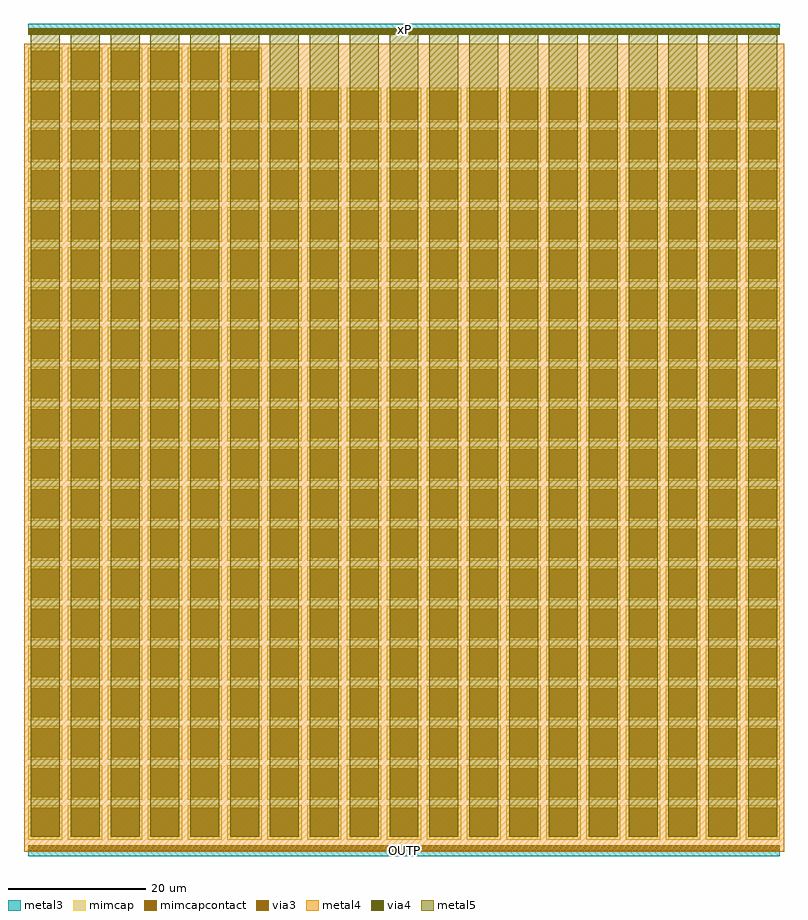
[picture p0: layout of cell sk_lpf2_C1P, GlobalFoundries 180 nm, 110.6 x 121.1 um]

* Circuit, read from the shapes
.subckt sk_lpf2_C1P xP OUTP
XC1 xP OUTP cap_mim_2f0fF c_width=5u c_length=5u m=367
.ends

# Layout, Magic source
magic
tech gf180mcuD
magscale 1 10
<< metal3 >>
rect 0 23420 21880 23620
rect 0 23420 21880 23740
rect 0 23420 21880 23740
rect 0 -340 21880 -160
rect 0 -480 21880 -160
rect 0 -480 21880 -160
<< metal4 >>
rect -120 -360 22000 23160
rect 0 23420 21880 23620
rect 0 23420 21880 23620
rect 0 -340 21880 -160
<< mimcap >>
rect 0 0 1000 1000
rect 1160 0 2160 1000
rect 2320 0 3320 1000
rect 3480 0 4480 1000
rect 4640 0 5640 1000
rect 5800 0 6800 1000
rect 6960 0 7960 1000
rect 8120 0 9120 1000
rect 9280 0 10280 1000
rect 10440 0 11440 1000
rect 11600 0 12600 1000
rect 12760 0 13760 1000
rect 13920 0 14920 1000
rect 15080 0 16080 1000
rect 16240 0 17240 1000
rect 17400 0 18400 1000
rect 18560 0 19560 1000
rect 19720 0 20720 1000
rect 20880 0 21880 1000
rect 0 1160 1000 2160
rect 1160 1160 2160 2160
rect 2320 1160 3320 2160
rect 3480 1160 4480 2160
rect 4640 1160 5640 2160
rect 5800 1160 6800 2160
rect 6960 1160 7960 2160
rect 8120 1160 9120 2160
rect 9280 1160 10280 2160
rect 10440 1160 11440 2160
rect 11600 1160 12600 2160
rect 12760 1160 13760 2160
rect 13920 1160 14920 2160
rect 15080 1160 16080 2160
rect 16240 1160 17240 2160
rect 17400 1160 18400 2160
rect 18560 1160 19560 2160
rect 19720 1160 20720 2160
rect 20880 1160 21880 2160
rect 0 2320 1000 3320
rect 1160 2320 2160 3320
rect 2320 2320 3320 3320
rect 3480 2320 4480 3320
rect 4640 2320 5640 3320
rect 5800 2320 6800 3320
rect 6960 2320 7960 3320
rect 8120 2320 9120 3320
rect 9280 2320 10280 3320
rect 10440 2320 11440 3320
rect 11600 2320 12600 3320
rect 12760 2320 13760 3320
rect 13920 2320 14920 3320
rect 15080 2320 16080 3320
rect 16240 2320 17240 3320
rect 17400 2320 18400 3320
rect 18560 2320 19560 3320
rect 19720 2320 20720 3320
rect 20880 2320 21880 3320
rect 0 3480 1000 4480
rect 1160 3480 2160 4480
rect 2320 3480 3320 4480
rect 3480 3480 4480 4480
rect 4640 3480 5640 4480
rect 5800 3480 6800 4480
rect 6960 3480 7960 4480
rect 8120 3480 9120 4480
rect 9280 3480 10280 4480
rect 10440 3480 11440 4480
rect 11600 3480 12600 4480
rect 12760 3480 13760 4480
rect 13920 3480 14920 4480
rect 15080 3480 16080 4480
rect 16240 3480 17240 4480
rect 17400 3480 18400 4480
rect 18560 3480 19560 4480
rect 19720 3480 20720 4480
rect 20880 3480 21880 4480
rect 0 4640 1000 5640
rect 1160 4640 2160 5640
rect 2320 4640 3320 5640
rect 3480 4640 4480 5640
rect 4640 4640 5640 5640
rect 5800 4640 6800 5640
rect 6960 4640 7960 5640
rect 8120 4640 9120 5640
rect 9280 4640 10280 5640
rect 10440 4640 11440 5640
rect 11600 4640 12600 5640
rect 12760 4640 13760 5640
rect 13920 4640 14920 5640
rect 15080 4640 16080 5640
rect 16240 4640 17240 5640
rect 17400 4640 18400 5640
rect 18560 4640 19560 5640
rect 19720 4640 20720 5640
rect 20880 4640 21880 5640
rect 0 5800 1000 6800
rect 1160 5800 2160 6800
rect 2320 5800 3320 6800
rect 3480 5800 4480 6800
rect 4640 5800 5640 6800
rect 5800 5800 6800 6800
rect 6960 5800 7960 6800
rect 8120 5800 9120 6800
rect 9280 5800 10280 6800
rect 10440 5800 11440 6800
rect 11600 5800 12600 6800
rect 12760 5800 13760 6800
rect 13920 5800 14920 6800
rect 15080 5800 16080 6800
rect 16240 5800 17240 6800
rect 17400 5800 18400 6800
rect 18560 5800 19560 6800
rect 19720 5800 20720 6800
rect 20880 5800 21880 6800
rect 0 6960 1000 7960
rect 1160 6960 2160 7960
rect 2320 6960 3320 7960
rect 3480 6960 4480 7960
rect 4640 6960 5640 7960
rect 5800 6960 6800 7960
rect 6960 6960 7960 7960
rect 8120 6960 9120 7960
rect 9280 6960 10280 7960
rect 10440 6960 11440 7960
rect 11600 6960 12600 7960
rect 12760 6960 13760 7960
rect 13920 6960 14920 7960
rect 15080 6960 16080 7960
rect 16240 6960 17240 7960
rect 17400 6960 18400 7960
rect 18560 6960 19560 7960
rect 19720 6960 20720 7960
rect 20880 6960 21880 7960
rect 0 8120 1000 9120
rect 1160 8120 2160 9120
rect 2320 8120 3320 9120
rect 3480 8120 4480 9120
rect 4640 8120 5640 9120
rect 5800 8120 6800 9120
rect 6960 8120 7960 9120
rect 8120 8120 9120 9120
rect 9280 8120 10280 9120
rect 10440 8120 11440 9120
rect 11600 8120 12600 9120
rect 12760 8120 13760 9120
rect 13920 8120 14920 9120
rect 15080 8120 16080 9120
rect 16240 8120 17240 9120
rect 17400 8120 18400 9120
rect 18560 8120 19560 9120
rect 19720 8120 20720 9120
rect 20880 8120 21880 9120
rect 0 9280 1000 10280
rect 1160 9280 2160 10280
rect 2320 9280 3320 10280
rect 3480 9280 4480 10280
rect 4640 9280 5640 10280
rect 5800 9280 6800 10280
rect 6960 9280 7960 10280
rect 8120 9280 9120 10280
rect 9280 9280 10280 10280
rect 10440 9280 11440 10280
rect 11600 9280 12600 10280
rect 12760 9280 13760 10280
rect 13920 9280 14920 10280
rect 15080 9280 16080 10280
rect 16240 9280 17240 10280
rect 17400 9280 18400 10280
rect 18560 9280 19560 10280
rect 19720 9280 20720 10280
rect 20880 9280 21880 10280
rect 0 10440 1000 11440
rect 1160 10440 2160 11440
rect 2320 10440 3320 11440
rect 3480 10440 4480 11440
rect 4640 10440 5640 11440
rect 5800 10440 6800 11440
rect 6960 10440 7960 11440
rect 8120 10440 9120 11440
rect 9280 10440 10280 11440
rect 10440 10440 11440 11440
rect 11600 10440 12600 11440
rect 12760 10440 13760 11440
rect 13920 10440 14920 11440
rect 15080 10440 16080 11440
rect 16240 10440 17240 11440
rect 17400 10440 18400 11440
rect 18560 10440 19560 11440
rect 19720 10440 20720 11440
rect 20880 10440 21880 11440
rect 0 11600 1000 12600
rect 1160 11600 2160 12600
rect 2320 11600 3320 12600
rect 3480 11600 4480 12600
rect 4640 11600 5640 12600
rect 5800 11600 6800 12600
rect 6960 11600 7960 12600
rect 8120 11600 9120 12600
rect 9280 11600 10280 12600
rect 10440 11600 11440 12600
rect 11600 11600 12600 12600
rect 12760 11600 13760 12600
rect 13920 11600 14920 12600
rect 15080 11600 16080 12600
rect 16240 11600 17240 12600
rect 17400 11600 18400 12600
rect 18560 11600 19560 12600
rect 19720 11600 20720 12600
rect 20880 11600 21880 12600
rect 0 12760 1000 13760
rect 1160 12760 2160 13760
rect 2320 12760 3320 13760
rect 3480 12760 4480 13760
rect 4640 12760 5640 13760
rect 5800 12760 6800 13760
rect 6960 12760 7960 13760
rect 8120 12760 9120 13760
rect 9280 12760 10280 13760
rect 10440 12760 11440 13760
rect 11600 12760 12600 13760
rect 12760 12760 13760 13760
rect 13920 12760 14920 13760
rect 15080 12760 16080 13760
rect 16240 12760 17240 13760
rect 17400 12760 18400 13760
rect 18560 12760 19560 13760
rect 19720 12760 20720 13760
rect 20880 12760 21880 13760
rect 0 13920 1000 14920
rect 1160 13920 2160 14920
rect 2320 13920 3320 14920
rect 3480 13920 4480 14920
rect 4640 13920 5640 14920
rect 5800 13920 6800 14920
rect 6960 13920 7960 14920
rect 8120 13920 9120 14920
rect 9280 13920 10280 14920
rect 10440 13920 11440 14920
rect 11600 13920 12600 14920
rect 12760 13920 13760 14920
rect 13920 13920 14920 14920
rect 15080 13920 16080 14920
rect 16240 13920 17240 14920
rect 17400 13920 18400 14920
rect 18560 13920 19560 14920
rect 19720 13920 20720 14920
rect 20880 13920 21880 14920
rect 0 15080 1000 16080
rect 1160 15080 2160 16080
rect 2320 15080 3320 16080
rect 3480 15080 4480 16080
rect 4640 15080 5640 16080
rect 5800 15080 6800 16080
rect 6960 15080 7960 16080
rect 8120 15080 9120 16080
rect 9280 15080 10280 16080
rect 10440 15080 11440 16080
rect 11600 15080 12600 16080
rect 12760 15080 13760 16080
rect 13920 15080 14920 16080
rect 15080 15080 16080 16080
rect 16240 15080 17240 16080
rect 17400 15080 18400 16080
rect 18560 15080 19560 16080
rect 19720 15080 20720 16080
rect 20880 15080 21880 16080
rect 0 16240 1000 17240
rect 1160 16240 2160 17240
rect 2320 16240 3320 17240
rect 3480 16240 4480 17240
rect 4640 16240 5640 17240
rect 5800 16240 6800 17240
rect 6960 16240 7960 17240
rect 8120 16240 9120 17240
rect 9280 16240 10280 17240
rect 10440 16240 11440 17240
rect 11600 16240 12600 17240
rect 12760 16240 13760 17240
rect 13920 16240 14920 17240
rect 15080 16240 16080 17240
rect 16240 16240 17240 17240
rect 17400 16240 18400 17240
rect 18560 16240 19560 17240
rect 19720 16240 20720 17240
rect 20880 16240 21880 17240
rect 0 17400 1000 18400
rect 1160 17400 2160 18400
rect 2320 17400 3320 18400
rect 3480 17400 4480 18400
rect 4640 17400 5640 18400
rect 5800 17400 6800 18400
rect 6960 17400 7960 18400
rect 8120 17400 9120 18400
rect 9280 17400 10280 18400
rect 10440 17400 11440 18400
rect 11600 17400 12600 18400
rect 12760 17400 13760 18400
rect 13920 17400 14920 18400
rect 15080 17400 16080 18400
rect 16240 17400 17240 18400
rect 17400 17400 18400 18400
rect 18560 17400 19560 18400
rect 19720 17400 20720 18400
rect 20880 17400 21880 18400
rect 0 18560 1000 19560
rect 1160 18560 2160 19560
rect 2320 18560 3320 19560
rect 3480 18560 4480 19560
rect 4640 18560 5640 19560
rect 5800 18560 6800 19560
rect 6960 18560 7960 19560
rect 8120 18560 9120 19560
rect 9280 18560 10280 19560
rect 10440 18560 11440 19560
rect 11600 18560 12600 19560
rect 12760 18560 13760 19560
rect 13920 18560 14920 19560
rect 15080 18560 16080 19560
rect 16240 18560 17240 19560
rect 17400 18560 18400 19560
rect 18560 18560 19560 19560
rect 19720 18560 20720 19560
rect 20880 18560 21880 19560
rect 0 19720 1000 20720
rect 1160 19720 2160 20720
rect 2320 19720 3320 20720
rect 3480 19720 4480 20720
rect 4640 19720 5640 20720
rect 5800 19720 6800 20720
rect 6960 19720 7960 20720
rect 8120 19720 9120 20720
rect 9280 19720 10280 20720
rect 10440 19720 11440 20720
rect 11600 19720 12600 20720
rect 12760 19720 13760 20720
rect 13920 19720 14920 20720
rect 15080 19720 16080 20720
rect 16240 19720 17240 20720
rect 17400 19720 18400 20720
rect 18560 19720 19560 20720
rect 19720 19720 20720 20720
rect 20880 19720 21880 20720
rect 0 20880 1000 21880
rect 1160 20880 2160 21880
rect 2320 20880 3320 21880
rect 3480 20880 4480 21880
rect 4640 20880 5640 21880
rect 5800 20880 6800 21880
rect 6960 20880 7960 21880
rect 8120 20880 9120 21880
rect 9280 20880 10280 21880
rect 10440 20880 11440 21880
rect 11600 20880 12600 21880
rect 12760 20880 13760 21880
rect 13920 20880 14920 21880
rect 15080 20880 16080 21880
rect 16240 20880 17240 21880
rect 17400 20880 18400 21880
rect 18560 20880 19560 21880
rect 19720 20880 20720 21880
rect 20880 20880 21880 21880
rect 0 22040 1000 23040
rect 1160 22040 2160 23040
rect 2320 22040 3320 23040
rect 3480 22040 4480 23040
rect 4640 22040 5640 23040
rect 5800 22040 6800 23040
<< metal5 >>
rect 78 78 922 23520
rect 1238 78 2082 23520
rect 2398 78 3242 23520
rect 3558 78 4402 23520
rect 4718 78 5562 23520
rect 5878 78 6722 23520
rect 7038 78 7882 23520
rect 8198 78 9042 23520
rect 9358 78 10202 23520
rect 10518 78 11362 23520
rect 11678 78 12522 23520
rect 12838 78 13682 23520
rect 13998 78 14842 23520
rect 15158 78 16002 23520
rect 16318 78 17162 23520
rect 17478 78 18322 23520
rect 18638 78 19482 23520
rect 19798 78 20642 23520
rect 20958 78 21802 23520
rect 0 23420 21880 23620
rect 0 23420 21880 23620
<< via3 >>
rect 10 23430 21870 23610
rect 10 -330 21870 -170
<< via4 >>
rect 10 23430 21870 23610
<< mimcapcontact >>
rect 78 78 922 922
rect 1238 78 2082 922
rect 2398 78 3242 922
rect 3558 78 4402 922
rect 4718 78 5562 922
rect 5878 78 6722 922
rect 7038 78 7882 922
rect 8198 78 9042 922
rect 9358 78 10202 922
rect 10518 78 11362 922
rect 11678 78 12522 922
rect 12838 78 13682 922
rect 13998 78 14842 922
rect 15158 78 16002 922
rect 16318 78 17162 922
rect 17478 78 18322 922
rect 18638 78 19482 922
rect 19798 78 20642 922
rect 20958 78 21802 922
rect 78 1238 922 2082
rect 1238 1238 2082 2082
rect 2398 1238 3242 2082
rect 3558 1238 4402 2082
rect 4718 1238 5562 2082
rect 5878 1238 6722 2082
rect 7038 1238 7882 2082
rect 8198 1238 9042 2082
rect 9358 1238 10202 2082
rect 10518 1238 11362 2082
rect 11678 1238 12522 2082
rect 12838 1238 13682 2082
rect 13998 1238 14842 2082
rect 15158 1238 16002 2082
rect 16318 1238 17162 2082
rect 17478 1238 18322 2082
rect 18638 1238 19482 2082
rect 19798 1238 20642 2082
rect 20958 1238 21802 2082
rect 78 2398 922 3242
rect 1238 2398 2082 3242
rect 2398 2398 3242 3242
rect 3558 2398 4402 3242
rect 4718 2398 5562 3242
rect 5878 2398 6722 3242
rect 7038 2398 7882 3242
rect 8198 2398 9042 3242
rect 9358 2398 10202 3242
rect 10518 2398 11362 3242
rect 11678 2398 12522 3242
rect 12838 2398 13682 3242
rect 13998 2398 14842 3242
rect 15158 2398 16002 3242
rect 16318 2398 17162 3242
rect 17478 2398 18322 3242
rect 18638 2398 19482 3242
rect 19798 2398 20642 3242
rect 20958 2398 21802 3242
rect 78 3558 922 4402
rect 1238 3558 2082 4402
rect 2398 3558 3242 4402
rect 3558 3558 4402 4402
rect 4718 3558 5562 4402
rect 5878 3558 6722 4402
rect 7038 3558 7882 4402
rect 8198 3558 9042 4402
rect 9358 3558 10202 4402
rect 10518 3558 11362 4402
rect 11678 3558 12522 4402
rect 12838 3558 13682 4402
rect 13998 3558 14842 4402
rect 15158 3558 16002 4402
rect 16318 3558 17162 4402
rect 17478 3558 18322 4402
rect 18638 3558 19482 4402
rect 19798 3558 20642 4402
rect 20958 3558 21802 4402
rect 78 4718 922 5562
rect 1238 4718 2082 5562
rect 2398 4718 3242 5562
rect 3558 4718 4402 5562
rect 4718 4718 5562 5562
rect 5878 4718 6722 5562
rect 7038 4718 7882 5562
rect 8198 4718 9042 5562
rect 9358 4718 10202 5562
rect 10518 4718 11362 5562
rect 11678 4718 12522 5562
rect 12838 4718 13682 5562
rect 13998 4718 14842 5562
rect 15158 4718 16002 5562
rect 16318 4718 17162 5562
rect 17478 4718 18322 5562
rect 18638 4718 19482 5562
rect 19798 4718 20642 5562
rect 20958 4718 21802 5562
rect 78 5878 922 6722
rect 1238 5878 2082 6722
rect 2398 5878 3242 6722
rect 3558 5878 4402 6722
rect 4718 5878 5562 6722
rect 5878 5878 6722 6722
rect 7038 5878 7882 6722
rect 8198 5878 9042 6722
rect 9358 5878 10202 6722
rect 10518 5878 11362 6722
rect 11678 5878 12522 6722
rect 12838 5878 13682 6722
rect 13998 5878 14842 6722
rect 15158 5878 16002 6722
rect 16318 5878 17162 6722
rect 17478 5878 18322 6722
rect 18638 5878 19482 6722
rect 19798 5878 20642 6722
rect 20958 5878 21802 6722
rect 78 7038 922 7882
rect 1238 7038 2082 7882
rect 2398 7038 3242 7882
rect 3558 7038 4402 7882
rect 4718 7038 5562 7882
rect 5878 7038 6722 7882
rect 7038 7038 7882 7882
rect 8198 7038 9042 7882
rect 9358 7038 10202 7882
rect 10518 7038 11362 7882
rect 11678 7038 12522 7882
rect 12838 7038 13682 7882
rect 13998 7038 14842 7882
rect 15158 7038 16002 7882
rect 16318 7038 17162 7882
rect 17478 7038 18322 7882
rect 18638 7038 19482 7882
rect 19798 7038 20642 7882
rect 20958 7038 21802 7882
rect 78 8198 922 9042
rect 1238 8198 2082 9042
rect 2398 8198 3242 9042
rect 3558 8198 4402 9042
rect 4718 8198 5562 9042
rect 5878 8198 6722 9042
rect 7038 8198 7882 9042
rect 8198 8198 9042 9042
rect 9358 8198 10202 9042
rect 10518 8198 11362 9042
rect 11678 8198 12522 9042
rect 12838 8198 13682 9042
rect 13998 8198 14842 9042
rect 15158 8198 16002 9042
rect 16318 8198 17162 9042
rect 17478 8198 18322 9042
rect 18638 8198 19482 9042
rect 19798 8198 20642 9042
rect 20958 8198 21802 9042
rect 78 9358 922 10202
rect 1238 9358 2082 10202
rect 2398 9358 3242 10202
rect 3558 9358 4402 10202
rect 4718 9358 5562 10202
rect 5878 9358 6722 10202
rect 7038 9358 7882 10202
rect 8198 9358 9042 10202
rect 9358 9358 10202 10202
rect 10518 9358 11362 10202
rect 11678 9358 12522 10202
rect 12838 9358 13682 10202
rect 13998 9358 14842 10202
rect 15158 9358 16002 10202
rect 16318 9358 17162 10202
rect 17478 9358 18322 10202
rect 18638 9358 19482 10202
rect 19798 9358 20642 10202
rect 20958 9358 21802 10202
rect 78 10518 922 11362
rect 1238 10518 2082 11362
rect 2398 10518 3242 11362
rect 3558 10518 4402 11362
rect 4718 10518 5562 11362
rect 5878 10518 6722 11362
rect 7038 10518 7882 11362
rect 8198 10518 9042 11362
rect 9358 10518 10202 11362
rect 10518 10518 11362 11362
rect 11678 10518 12522 11362
rect 12838 10518 13682 11362
rect 13998 10518 14842 11362
rect 15158 10518 16002 11362
rect 16318 10518 17162 11362
rect 17478 10518 18322 11362
rect 18638 10518 19482 11362
rect 19798 10518 20642 11362
rect 20958 10518 21802 11362
rect 78 11678 922 12522
rect 1238 11678 2082 12522
rect 2398 11678 3242 12522
rect 3558 11678 4402 12522
rect 4718 11678 5562 12522
rect 5878 11678 6722 12522
rect 7038 11678 7882 12522
rect 8198 11678 9042 12522
rect 9358 11678 10202 12522
rect 10518 11678 11362 12522
rect 11678 11678 12522 12522
rect 12838 11678 13682 12522
rect 13998 11678 14842 12522
rect 15158 11678 16002 12522
rect 16318 11678 17162 12522
rect 17478 11678 18322 12522
rect 18638 11678 19482 12522
rect 19798 11678 20642 12522
rect 20958 11678 21802 12522
rect 78 12838 922 13682
rect 1238 12838 2082 13682
rect 2398 12838 3242 13682
rect 3558 12838 4402 13682
rect 4718 12838 5562 13682
rect 5878 12838 6722 13682
rect 7038 12838 7882 13682
rect 8198 12838 9042 13682
rect 9358 12838 10202 13682
rect 10518 12838 11362 13682
rect 11678 12838 12522 13682
rect 12838 12838 13682 13682
rect 13998 12838 14842 13682
rect 15158 12838 16002 13682
rect 16318 12838 17162 13682
rect 17478 12838 18322 13682
rect 18638 12838 19482 13682
rect 19798 12838 20642 13682
rect 20958 12838 21802 13682
rect 78 13998 922 14842
rect 1238 13998 2082 14842
rect 2398 13998 3242 14842
rect 3558 13998 4402 14842
rect 4718 13998 5562 14842
rect 5878 13998 6722 14842
rect 7038 13998 7882 14842
rect 8198 13998 9042 14842
rect 9358 13998 10202 14842
rect 10518 13998 11362 14842
rect 11678 13998 12522 14842
rect 12838 13998 13682 14842
rect 13998 13998 14842 14842
rect 15158 13998 16002 14842
rect 16318 13998 17162 14842
rect 17478 13998 18322 14842
rect 18638 13998 19482 14842
rect 19798 13998 20642 14842
rect 20958 13998 21802 14842
rect 78 15158 922 16002
rect 1238 15158 2082 16002
rect 2398 15158 3242 16002
rect 3558 15158 4402 16002
rect 4718 15158 5562 16002
rect 5878 15158 6722 16002
rect 7038 15158 7882 16002
rect 8198 15158 9042 16002
rect 9358 15158 10202 16002
rect 10518 15158 11362 16002
rect 11678 15158 12522 16002
rect 12838 15158 13682 16002
rect 13998 15158 14842 16002
rect 15158 15158 16002 16002
rect 16318 15158 17162 16002
rect 17478 15158 18322 16002
rect 18638 15158 19482 16002
rect 19798 15158 20642 16002
rect 20958 15158 21802 16002
rect 78 16318 922 17162
rect 1238 16318 2082 17162
rect 2398 16318 3242 17162
rect 3558 16318 4402 17162
rect 4718 16318 5562 17162
rect 5878 16318 6722 17162
rect 7038 16318 7882 17162
rect 8198 16318 9042 17162
rect 9358 16318 10202 17162
rect 10518 16318 11362 17162
rect 11678 16318 12522 17162
rect 12838 16318 13682 17162
rect 13998 16318 14842 17162
rect 15158 16318 16002 17162
rect 16318 16318 17162 17162
rect 17478 16318 18322 17162
rect 18638 16318 19482 17162
rect 19798 16318 20642 17162
rect 20958 16318 21802 17162
rect 78 17478 922 18322
rect 1238 17478 2082 18322
rect 2398 17478 3242 18322
rect 3558 17478 4402 18322
rect 4718 17478 5562 18322
rect 5878 17478 6722 18322
rect 7038 17478 7882 18322
rect 8198 17478 9042 18322
rect 9358 17478 10202 18322
rect 10518 17478 11362 18322
rect 11678 17478 12522 18322
rect 12838 17478 13682 18322
rect 13998 17478 14842 18322
rect 15158 17478 16002 18322
rect 16318 17478 17162 18322
rect 17478 17478 18322 18322
rect 18638 17478 19482 18322
rect 19798 17478 20642 18322
rect 20958 17478 21802 18322
rect 78 18638 922 19482
rect 1238 18638 2082 19482
rect 2398 18638 3242 19482
rect 3558 18638 4402 19482
rect 4718 18638 5562 19482
rect 5878 18638 6722 19482
rect 7038 18638 7882 19482
rect 8198 18638 9042 19482
rect 9358 18638 10202 19482
rect 10518 18638 11362 19482
rect 11678 18638 12522 19482
rect 12838 18638 13682 19482
rect 13998 18638 14842 19482
rect 15158 18638 16002 19482
rect 16318 18638 17162 19482
rect 17478 18638 18322 19482
rect 18638 18638 19482 19482
rect 19798 18638 20642 19482
rect 20958 18638 21802 19482
rect 78 19798 922 20642
rect 1238 19798 2082 20642
rect 2398 19798 3242 20642
rect 3558 19798 4402 20642
rect 4718 19798 5562 20642
rect 5878 19798 6722 20642
rect 7038 19798 7882 20642
rect 8198 19798 9042 20642
rect 9358 19798 10202 20642
rect 10518 19798 11362 20642
rect 11678 19798 12522 20642
rect 12838 19798 13682 20642
rect 13998 19798 14842 20642
rect 15158 19798 16002 20642
rect 16318 19798 17162 20642
rect 17478 19798 18322 20642
rect 18638 19798 19482 20642
rect 19798 19798 20642 20642
rect 20958 19798 21802 20642
rect 78 20958 922 21802
rect 1238 20958 2082 21802
rect 2398 20958 3242 21802
rect 3558 20958 4402 21802
rect 4718 20958 5562 21802
rect 5878 20958 6722 21802
rect 7038 20958 7882 21802
rect 8198 20958 9042 21802
rect 9358 20958 10202 21802
rect 10518 20958 11362 21802
rect 11678 20958 12522 21802
rect 12838 20958 13682 21802
rect 13998 20958 14842 21802
rect 15158 20958 16002 21802
rect 16318 20958 17162 21802
rect 17478 20958 18322 21802
rect 18638 20958 19482 21802
rect 19798 20958 20642 21802
rect 20958 20958 21802 21802
rect 78 22118 922 22962
rect 1238 22118 2082 22962
rect 2398 22118 3242 22962
rect 3558 22118 4402 22962
rect 4718 22118 5562 22962
rect 5878 22118 6722 22962
<< labels >>
flabel metal3 s 0 23420 21880 23740 0 FreeSans 80 0 0 0 xP
port 1 nsew signal bidirectional
flabel metal3 s 0 -480 21880 -160 0 FreeSans 80 0 0 0 OUTP
port 2 nsew signal bidirectional
<< end >>
